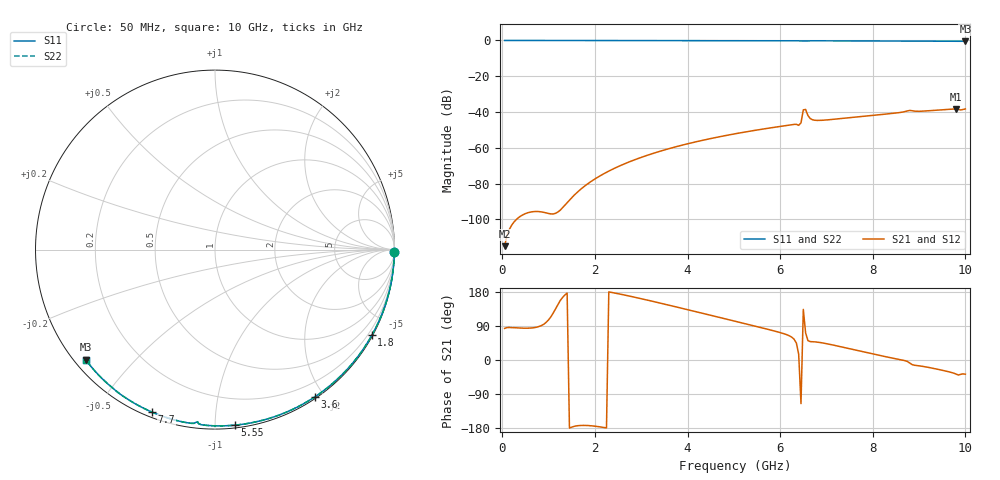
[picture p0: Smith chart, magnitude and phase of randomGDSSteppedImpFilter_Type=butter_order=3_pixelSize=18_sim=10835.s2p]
! freq	dB(S11)	phase(S11)	dB(S12)	phase(S12)
!  dB(S21)	phase(S21)	dB(S22)	phase(S22)
!S-par simulation data
#  GHz  S  DB  R 50
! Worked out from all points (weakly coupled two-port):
!   200 points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, 50 MHz to 10 GHz, reference 50 ohm
!   highest |S21| = -38.22 dB at 9.8 GHz (marker M1); lowest = -114.9 dB at 50 MHz (marker M2)
!   lowest |S11| = -0.5 dB at 10 GHz (marker M3), VSWR 36.67, Z = 1.55 - j18.4 ohm
!   |S11| at or under -10 dB: nowhere
!   |S22| runs from -0.5 to 0.0 dB; largest |S21 - S12| = 0
!   S11 on the Smith chart (normalised r, x): 50 MHz: open; 1.8 GHz: 0.03, -3.91; 3.6 GHz: 0.02, -1.88; 5.55 GHz: 0.02, -1.12; 7.7 GHz: 0.02, -0.68; 10 GHz: 0.03, -0.37
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0.05  -0.00 -0.8  -114.93 83.4  -114.93 83.4  -0.00 -0.8
1.75  -0.04 -27.9  -81.94 -172.6  -81.94 -172.6  -0.04 -27.9
1.8  -0.04 -28.7  -80.94 -172.7  -80.94 -172.7  -0.04 -28.7
1.85  -0.04 -29.5  -79.99 -172.9  -79.99 -172.9  -0.04 -29.5
2.55  -0.05 -40.3  -69.91 173.7  -69.91 173.7  -0.05 -40.3
3.4  -0.07 -53.0  -61.94 150.4  -61.94 150.4  -0.07 -53.0
3.6  -0.08 -56.0  -60.44 144.6  -60.44 144.6  -0.08 -56.0
5.05  -0.12 -76.7  -52.03 101.6  -52.03 101.6  -0.12 -76.7
5.55  -0.14 -83.5  -49.82 86.6  -49.82 86.6  -0.14 -83.5
6.3  -0.18 -93.7  -46.91 55.0  -46.91 55.0  -0.18 -93.7
6.4  -0.21 -95.3  -47.40 15.4  -47.40 15.4  -0.22 -95.3
6.45  -0.29 -95.8  -46.06 -115.0  -46.06 -115.0  -0.32 -95.7
6.5  -0.30 -96.1  -38.77 133.4  -38.77 133.4  -0.29 -95.9
6.55  -0.29 -96.2  -38.56 71.4  -38.56 71.4  -0.27 -96.2
6.6  -0.22 -96.9  -41.95 51.2  -41.95 51.2  -0.22 -96.9
6.7  -0.20 -98.4  -44.32 48.2  -44.32 48.2  -0.20 -98.4
7.7  -0.25 -111.3  -42.61 24.3  -42.61 24.3  -0.25 -111.3
8.35  -0.30 -119.4  -40.96 6.9  -40.96 6.9  -0.30 -119.4
8.8  -0.34 -125.0  -39.10 -8.2  -39.10 -8.2  -0.34 -125.0
9  -0.37 -127.4  -39.58 -15.4  -39.58 -15.4  -0.37 -127.4
9.8  -0.46 -137.2  -38.22 -37.3  -38.22 -37.3  -0.46 -137.2
10  -0.47 -139.6  -38.28 -37.4  -38.28 -37.4  -0.47 -139.6
